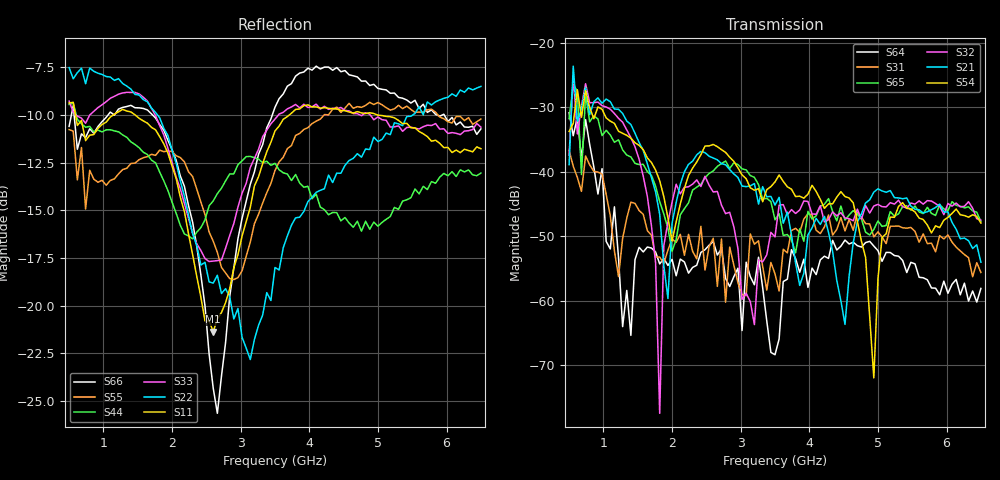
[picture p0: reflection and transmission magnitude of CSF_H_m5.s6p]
!Keysight Technologies,M9804A,MY58100912,A.14.10.03
!Date: Thursday, April 27, 2023 10:28:33
!Correction: S11(C  6-Port  )
!S12(C  6-Port  )
!S13(C  6-Port  )
!S14(C  6-Port  )
!S15(C  6-Port  )
!S16(C  6-Port  )
!S21(C  6-Port  )
!S22(C  6-Port  )
!S23(C  6-Port  )
!S24(C  6-Port  )
!S25(C  6-Port  )
!S26(C  6-Port  )
!S31(C  6-Port  )
!S32(C  6-Port  )
!S33(C  6-Port  )
!S34(C  6-Port  )
!S35(C  6-Port  )
!S36(C  6-Port  )
!S41(C  6-Port  )
!S42(C  6-Port  )
!S43(C  6-Port  )
!S44(C  6-Port  )
!S45(C  6-Port  )
!S46(C  6-Port  )
!S51(C  6-Port  )
!S52(C  6-Port  )
!S53(C  6-Port  )
!S54(C  6-Port  )
!S55(C  6-Port  )
!S56(C  6-Port  )
!S61(C  6-Port  )
!S62(C  6-Port  )
!S63(C  6-Port  )
!S64(C  6-Port  )
!S65(C  6-Port  )
!S66(C  6-Port  )
!S6P File: Measurement: :
# Hz S  RI  R 50
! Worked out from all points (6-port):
!   101 points, 500 MHz to 6.5 GHz, reference 50 ohm
!   strongest paths, dB at 500 MHz, 2 GHz, 3.5 GHz, 5 GHz, 6.5 GHz:
!     S54: -33.8, -50.8, -41.6, -56.6, -48.0
!     S21: -38.9, -48.0, -45.2, -42.7, -54.0
!     S32: -37.4, -44.8, -50.1, -45.1, -47.5
!     S65: -31.8, -52.3, -47.5, -47.6, -47.7
!     S31: -36.7, -50.5, -55.8, -49.3, -55.6
!     S64: -30.9, -53.6, -68.4, -52.2, -58.1
!   lowest |S11| = -21.4 dB at 2.6 GHz (marker M1), VSWR 1.19, Z = 42.4 + j2.28 ohm
!   |S11| at or under -10 dB: 592.6 MHz to 1.145 GHz (552 MHz wide, 63.5 % of centre); 1.462 GHz to 3.71 GHz (2.248 GHz wide, 86.9 % of centre); 4.99 GHz to end of sweep
